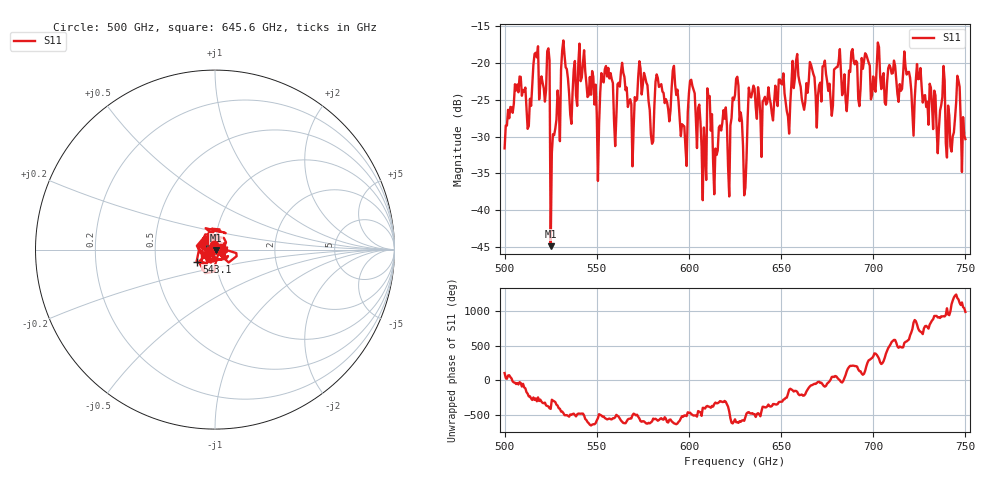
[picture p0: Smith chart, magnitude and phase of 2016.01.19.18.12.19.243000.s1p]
!Created with skrf (http://scikit-rf.org).
# GHz S RI R 50.0
!freq ReS11 ImS11
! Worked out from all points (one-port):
!   401 points, 500 GHz to 750 GHz, reference 50 ohm
!   lowest |S11| = -44.9 dB at 525 GHz (marker M1), VSWR 1.01, Z = 50.3 - j0.454 ohm
!   |S11| at or under -10 dB: start of sweep to end of sweep
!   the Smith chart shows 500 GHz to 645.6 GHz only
!   S11 on the Smith chart (normalised r, x): 500 GHz: 0.99, +0.05; 543.1 GHz: 0.81, -0.11; 645.6 GHz: 1.08, +0.03
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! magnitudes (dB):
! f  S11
! 500 GHz  -31.6
! 507.5 GHz  -24.0
! 513.1 GHz  -28.5
! 516.9 GHz  -18.6
! 523.1 GHz  -18.4
! 525 GHz  -44.9
! 526.2 GHz  -29.7
! 531.2 GHz  -18.3
! 543.1 GHz  -18.3
! 550 GHz  -26.9
! 562.5 GHz  -23.2
! 568.8 GHz  -25.6
! 574.4 GHz  -24.3
! 580 GHz  -31.0
! 593.8 GHz  -23.6
! 597.5 GHz  -28.6
! 601.9 GHz  -23.1
! 608.1 GHz  -28.8
! 611.2 GHz  -24.5
! 614.4 GHz  -31.6
! 625 GHz  -24.3
! 630 GHz  -38.0
! 633.8 GHz  -24.7
! 645.6 GHz  -27.8
! 656.2 GHz  -19.7
! 687.5 GHz  -21.2
! 718.8 GHz  -21.3
! 750 GHz  -30.3
